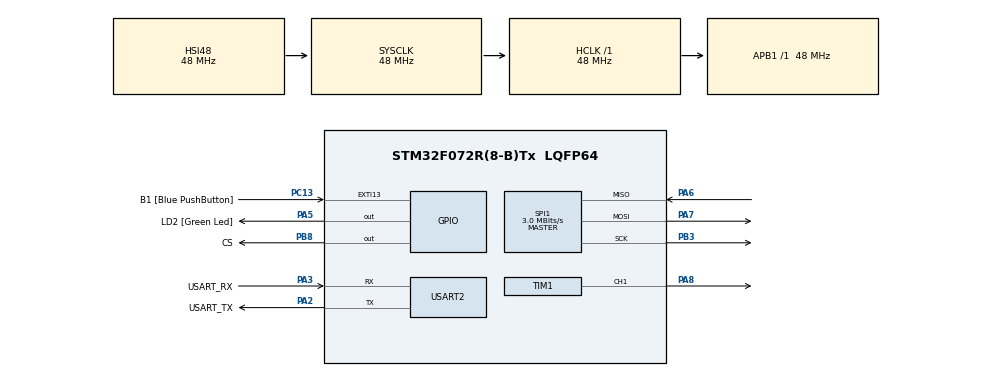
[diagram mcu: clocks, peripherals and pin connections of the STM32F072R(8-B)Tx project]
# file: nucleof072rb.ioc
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Mcu.Family=STM32F0
Mcu.Name=STM32F072R(8-B)Tx
Mcu.Package=LQFP64
PA13.GPIO_Label=TMS
PA13.Mode=Serial_Wire
PA13.Signal=SYS_SWDIO
PA14.GPIO_Label=TCK
PA14.Mode=Serial_Wire
PA14.Signal=SYS_SWCLK
PA2.GPIO_Label=USART_TX
PA2.GPIO_Mode=GPIO_MODE_AF_PP
PA2.GPIO_PuPd=GPIO_NOPULL
PA2.GPIO_Speed=GPIO_SPEED_FREQ_LOW
PA2.Mode=Asynchronous
PA2.Signal=USART2_TX
PA3.GPIO_Label=USART_RX
PA3.GPIO_Mode=GPIO_MODE_AF_PP
PA3.GPIO_PuPd=GPIO_NOPULL
PA3.GPIO_Speed=GPIO_SPEED_FREQ_LOW
PA3.Mode=Asynchronous
PA3.Signal=USART2_RX
PA5.GPIO_Label=LD2 [Green Led]
PA5.GPIO_Mode=GPIO_MODE_OUTPUT_PP
PA5.GPIO_PuPd=GPIO_NOPULL
PA5.GPIO_Speed=GPIO_SPEED_FREQ_LOW
PA5.Signal=GPIO_Output
PA6.Mode=Full_Duplex_Master
PA6.Signal=SPI1_MISO
PA7.Mode=Full_Duplex_Master
PA7.Signal=SPI1_MOSI
PA8.Signal=S_TIM1_CH1
PB3.Mode=Full_Duplex_Master
PB3.Signal=SPI1_SCK
PB8.GPIO_Label=CS
PB8.Signal=GPIO_Output
PC13.GPIO_Label=B1 [Blue PushButton]
PC13.GPIO_ModeDefaultEXTI=GPIO_MODE_IT_FALLING
PC13.Signal=GPXTI13
PC14-OSC32_IN.Mode=LSE-External-Oscillator
PC14-OSC32_IN.Signal=RCC_OSC32_IN
PC15-OSC32_OUT.Mode=LSE-External-Oscillator
PC15-OSC32_OUT.Signal=RCC_OSC32_OUT
PF0-OSC_IN.Mode=HSE-External-Clock-Source
PF0-OSC_IN.Signal=RCC_OSC_IN
PF1-OSC_OUT.Signal=RCC_OSC_OUT
ProjectManager.HeapSize=0x200
ProjectManager.StackSize=0x400
ProjectManager.TargetToolchain=STM32CubeIDE
RCC.AHBFreq_Value=48000000
RCC.APB1Freq_Value=48000000
RCC.APB1TimFreq_Value=48000000
RCC.FLatency-AdvancedSettings=FLASH_LATENCY_1
RCC.HCLKFreq_Value=48000000
RCC.PLLDivider=RCC_PREDIV_DIV2
RCC.PLLMUL=RCC_PLL_MUL12
RCC.PREFETCH_ENABLE-AdvancedSettings=1
RCC.SYSCLKFreq_VALUE=48000000
RCC.SYSCLKSource=RCC_SYSCLKSOURCE_HSI48
SH.S_TIM1_CH1.0=TIM1_CH1,PWM Generation1 CH1
SPI1.BaudRatePrescaler=SPI_BAUDRATEPRESCALER_16
SPI1.CalculateBaudRate=3.0 MBits/s
SPI1.DataSize=SPI_DATASIZE_8BIT
SPI1.Direction=SPI_DIRECTION_2LINES
SPI1.Mode=SPI_MODE_MASTER
SPI1.VirtualType=VM_MASTER
TIM1.Channel-PWM\ Generation1\ CH1=TIM_CHANNEL_1
TIM1.Period=48000
TIM1.Prescaler=20
USART2.VirtualMode=VM_ASYNC
USART2.VirtualMode-Asynchronous=VM_ASYNC
VP_TIM1_VS_ClockSourceINT.Mode=Internal
board=NUCLEO-F072RB

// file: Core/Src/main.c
/* USER CODE BEGIN Header */
/**
  ******************************************************************************
  * @file           : main.c
  * @brief          : Main program body
  ******************************************************************************
  * @attention
  *
  * <h2><center>&copy; Copyright (c) 2021 STMicroelectronics.
  * All rights reserved.</center></h2>
  *
  * This software component is licensed by ST under BSD 3-Clause license,
  * the "License"; You may not use this file except in compliance with the
  * License. You may obtain a copy of the License at:
  *                        opensource.org/licenses/BSD-3-Clause
  *
  ******************************************************************************
  */
/* USER CODE END Header */
#include "main.h"
#include "spi.h"
#include "tim.h"
#include "usart.h"
#include "gpio.h"

/* USER CODE BEGIN PV */
uint8_t output_word = 1 << 7;
uint8_t receive_word1;
uint8_t receive_word2;
uint16_t adc_value;
const float ADC_RESOLUTION = 1023.0; 	// 10-bit resolution
const int PWM_ARR = 48000; 				// PWM Auto-Reload Register Value
/* USER CODE END PV */

void SystemClock_Config(void);
/* USER CODE BEGIN PFP */
void get_adc(uint16_t *adc_value);
void output_pwm();
/* USER CODE END PFP */

int main(void)
{

  /* MCU Configuration--------------------------------------------------------*/

  /* Reset of all peripherals, Initializes the Flash interface and the Systick. */
  HAL_Init();

  /* Configure the system clock */
  SystemClock_Config();

  /* Initialize all configured peripherals */
  MX_GPIO_Init();
  MX_USART2_UART_Init();
  MX_SPI1_Init();
  MX_TIM1_Init();
  /* USER CODE BEGIN 2 */
  HAL_GPIO_WritePin(CS_GPIO_Port, CS_Pin, GPIO_PIN_SET);
  HAL_TIM_PWM_Start(&htim1, TIM_CHANNEL_1);
  /* USER CODE END 2 */

  /* Infinite loop */
  while (1)
  {

    /* USER CODE BEGIN 3 */
	  get_adc(&adc_value);
	  output_pwm();
	  HAL_Delay(50);
  }
  /* USER CODE END 3 */
}

void SystemClock_Config(void)
{
  RCC_OscInitTypeDef RCC_OscInitStruct = {0};
  RCC_ClkInitTypeDef RCC_ClkInitStruct = {0};
  RCC_PeriphCLKInitTypeDef PeriphClkInit = {0};

  /** Initializes the RCC Oscillators according to the specified parameters
  * in the RCC_OscInitTypeDef structure.
  */
  RCC_OscInitStruct.OscillatorType = RCC_OSCILLATORTYPE_HSI48;
  RCC_OscInitStruct.HSI48State = RCC_HSI48_ON;
  RCC_OscInitStruct.PLL.PLLState = RCC_PLL_NONE;
  if (HAL_RCC_OscConfig(&RCC_OscInitStruct) != HAL_OK)
  {
    Error_Handler();
  }
  /** Initializes the CPU, AHB and APB buses clocks
  */
  RCC_ClkInitStruct.ClockType = RCC_CLOCKTYPE_HCLK|RCC_CLOCKTYPE_SYSCLK
                              |RCC_CLOCKTYPE_PCLK1;
  RCC_ClkInitStruct.SYSCLKSource = RCC_SYSCLKSOURCE_HSI48;
  RCC_ClkInitStruct.AHBCLKDivider = RCC_SYSCLK_DIV1;
  RCC_ClkInitStruct.APB1CLKDivider = RCC_HCLK_DIV1;

  if (HAL_RCC_ClockConfig(&RCC_ClkInitStruct, FLASH_LATENCY_1) != HAL_OK)
  {
    Error_Handler();
  }
  PeriphClkInit.PeriphClockSelection = RCC_PERIPHCLK_USART2;
  PeriphClkInit.Usart2ClockSelection = RCC_USART2CLKSOURCE_PCLK1;
  if (HAL_RCCEx_PeriphCLKConfig(&PeriphClkInit) != HAL_OK)
  {
    Error_Handler();
  }
}

/* USER CODE BEGIN 4 */
void get_adc(uint16_t *adc_value) {
	HAL_GPIO_WritePin(CS_GPIO_Port, CS_Pin, GPIO_PIN_RESET);
	HAL_SPI_TransmitReceive(&hspi1, &output_word, &receive_word1, 1, 100);
	HAL_SPI_TransmitReceive(&hspi1, &output_word, &receive_word2, 1, 100);
	HAL_GPIO_WritePin(CS_GPIO_Port, CS_Pin, GPIO_PIN_SET);
	*adc_value = ((receive_word1 & 3) << 8) | receive_word2;
}

void output_pwm() {
	float duty_cycle_percent = 5.0f + (5.0f / ADC_RESOLUTION)*adc_value;
	uint32_t compare_register_value = (duty_cycle_percent/100.0)*PWM_ARR;
	htim1.Instance->CCR1 = compare_register_value;
}
/* USER CODE END 4 */

void Error_Handler(void)
{
  __disable_irq();
  while (1)
  {
  }
}

/************************ (C) COPYRIGHT STMicroelectronics *****END OF FILE****/
